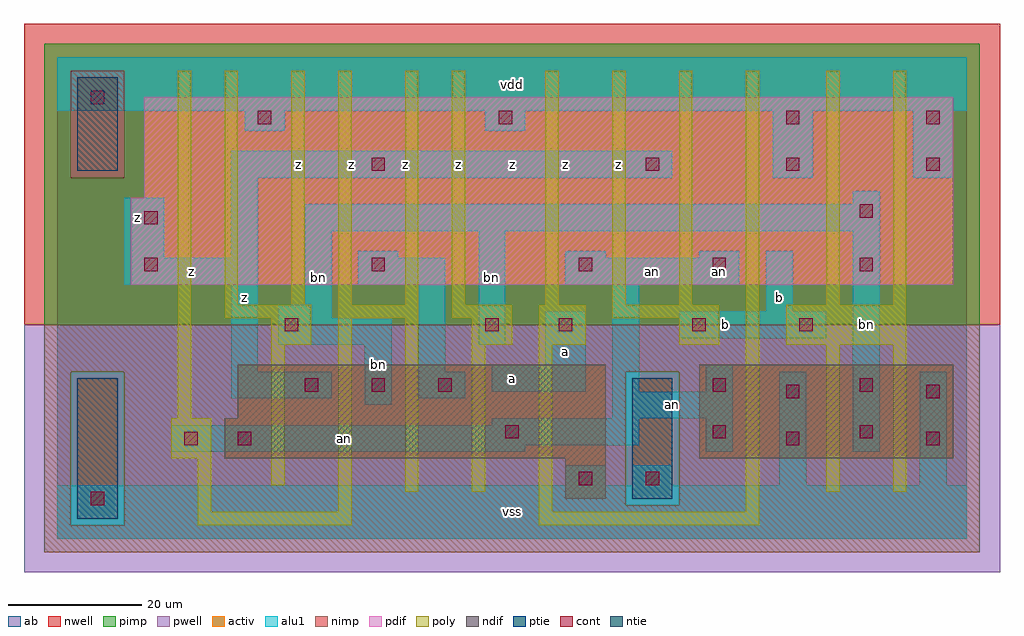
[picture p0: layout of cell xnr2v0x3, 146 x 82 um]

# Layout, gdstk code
import gdstk
lib = gdstk.Library(unit=1e-6, precision=1e-09)
def R(c, l, rs):  # rectangles x0, y0, x1, y1
    for r in rs: c.add(gdstk.rectangle(r[:2], r[2:], *l))
def A(c, l, x, y, w, h, nx, ny, dx, dy):  # array of equal rectangles
    R(c, l, [(x+i*dx, y+j*dy, x+i*dx+w, y+j*dy+h) for i in range(nx) for j in range(ny)])
ndif = (3, 0)
pdif = (4, 0)
ntie = (5, 0)
ptie = (6, 0)
cont = (25, 0)
pwell = (41, 0)
nwell = (42, 0)
activ = (43, 0)
pimp = (44, 0)
nimp = (45, 0)
poly = (46, 0)
alu1 = (49, 0)
ab = (63, 0)

xnr2v0x3 = lib.new_cell('xnr2v0x3')
R(xnr2v0x3, ndif, [(76,6,82,12), (25,12,82,18), (96,12,134,26), (27,18,82,26)])
R(xnr2v0x3, pdif, [(11,38,134,51), (13,51,134,66)])
R(xnr2v0x3, ntie, [(3,55,9,69)])
R(xnr2v0x3, ptie, [(3,3,9,24), (86,6,92,24)])
A(xnr2v0x3, cont, 37, 22, 2, 2, 3, 1, 10, 0)
A(xnr2v0x3, cont, 88, 55, 2, 2, 3, 1, 21, 0)
R(xnr2v0x3, cont, [(5,5,7,7), (78,8,80,10), (88,8,90,10), (19,14,21,16), (27,14,29,16), (109,14,111,16), (130,14,132,16), (67,15,69,17), (98,15,100,17), (120,15,122,17), (109,21,111,23), (130,21,132,23), (98,22,100,24), (120,22,122,24), (34,31,36,33), (64,31,66,33), (75,31,77,33), (95,31,97,33), (111,31,113,33), (13,40,15,42), (47,40,49,42), (78,40,80,42), (98,40,100,42), (120,40,122,42), (13,47,15,49), (120,48,122,50), (47,55,49,57), (30,62,32,64), (66,62,68,64), (109,62,111,64), (130,62,132,64), (5,65,7,67)])
R(xnr2v0x3, pwell, [(-5,-5,141,32)])
R(xnr2v0x3, nwell, [(-5,32,141,77)])
R(xnr2v0x3, activ, [(3,3,9,24), (76,6,82,12), (86,6,92,24), (25,12,82,18), (96,12,134,26), (27,18,82,26), (11,38,134,51), (13,51,134,66), (3,55,9,69)])
R(xnr2v0x3, pimp, [(2,2,10,25), (85,5,93,25), (-2,32,138,54), (-2,54,2,70), (10,54,138,70), (-2,70,138,74)])
R(xnr2v0x3, nimp, [(-2,-2,138,2), (-2,2,2,25), (10,2,138,5), (10,5,85,25), (93,5,138,25), (-2,25,138,32), (2,54,10,70)])
A(xnr2v0x3, poly, 73, 35, 2, 35, 3, 1, 10, 0)
R(xnr2v0x3, poly, [(21,2,44,4), (72,2,105,4), (21,4,23,12), (42,4,44,33), (72,4,74,29), (103,4,105,70), (52,7,54,33), (62,7,64,29), (115,7,117,29), (125,7,127,29), (32,8,34,29), (17,12,23,18), (18,18,20,70), (32,29,38,33), (62,29,68,33), (72,29,79,35), (93,29,99,33), (109,29,127,35), (25,33,38,35), (42,33,54,35), (59,33,68,35), (83,33,99,35), (25,35,27,70), (35,35,37,70), (42,35,44,70), (52,35,54,70), (59,35,61,70), (115,35,117,70), (125,35,127,70)])
R(xnr2v0x3, alu1, [(0,0,136,8), (76,8,82,11), (86,8,92,11), (108,8,112,25), (129,8,133,25), (17,13,70,14), (97,13,101,18), (119,13,123,46), (17,14,87,17), (65,17,87,18), (83,18,101,22), (46,20,50,29), (26,21,41,25), (54,21,61,25), (65,22,79,26), (83,22,87,38), (97,22,101,26), (26,25,30,38), (54,25,58,38), (73,26,79,34), (33,29,50,33), (63,29,67,46), (93,30,115,34), (33,33,41,35), (106,34,110,43), (37,35,41,46), (10,38,30,42), (45,38,58,42), (76,38,102,42), (10,42,16,51), (26,42,30,54), (45,42,51,43), (76,42,82,43), (96,42,102,43), (37,46,123,50), (119,50,123,52), (26,54,92,58), (107,54,113,64), (128,54,134,64), (28,61,34,64), (64,61,70,64), (0,64,136,72)])
R(xnr2v0x3, ab, [(0,0,136,72)])
xnr2v0x3.add(gdstk.Label('bn', (48,26), layer=49, texttype=0))
xnr2v0x3.add(gdstk.Label('bn', (65,39), layer=49, texttype=0))
xnr2v0x3.add(gdstk.Label('bn', (39,39), layer=49, texttype=0))
xnr2v0x3.add(gdstk.Label('an', (43,15), layer=49, texttype=0))
xnr2v0x3.add(gdstk.Label('an', (92,20), layer=49, texttype=0))
xnr2v0x3.add(gdstk.Label('an', (99,40), layer=49, texttype=0))
xnr2v0x3.add(gdstk.Label('an', (89,40), layer=49, texttype=0))
xnr2v0x3.add(gdstk.Label('bn', (121,32), layer=49, texttype=0))
xnr2v0x3.add(gdstk.Label('z', (28,36), layer=49, texttype=0))
xnr2v0x3.add(gdstk.Label('z', (20,40), layer=49, texttype=0))
xnr2v0x3.add(gdstk.Label('z', (12,48), layer=49, texttype=0))
xnr2v0x3.add(gdstk.Label('z', (44,56), layer=49, texttype=0))
xnr2v0x3.add(gdstk.Label('z', (52,56), layer=49, texttype=0))
xnr2v0x3.add(gdstk.Label('z', (60,56), layer=49, texttype=0))
xnr2v0x3.add(gdstk.Label('z', (36,56), layer=49, texttype=0))
xnr2v0x3.add(gdstk.Label('vss', (68,4), layer=49, texttype=0))
xnr2v0x3.add(gdstk.Label('a', (68,24), layer=49, texttype=0))
xnr2v0x3.add(gdstk.Label('b', (100,32), layer=49, texttype=0))
xnr2v0x3.add(gdstk.Label('a', (76,28), layer=49, texttype=0))
xnr2v0x3.add(gdstk.Label('z', (76,56), layer=49, texttype=0))
xnr2v0x3.add(gdstk.Label('z', (84,56), layer=49, texttype=0))
xnr2v0x3.add(gdstk.Label('z', (68,56), layer=49, texttype=0))
xnr2v0x3.add(gdstk.Label('vdd', (68,68), layer=49, texttype=0))
xnr2v0x3.add(gdstk.Label('b', (108,36), layer=49, texttype=0))

lib.write_gds('xnr2v0x3.gds')
